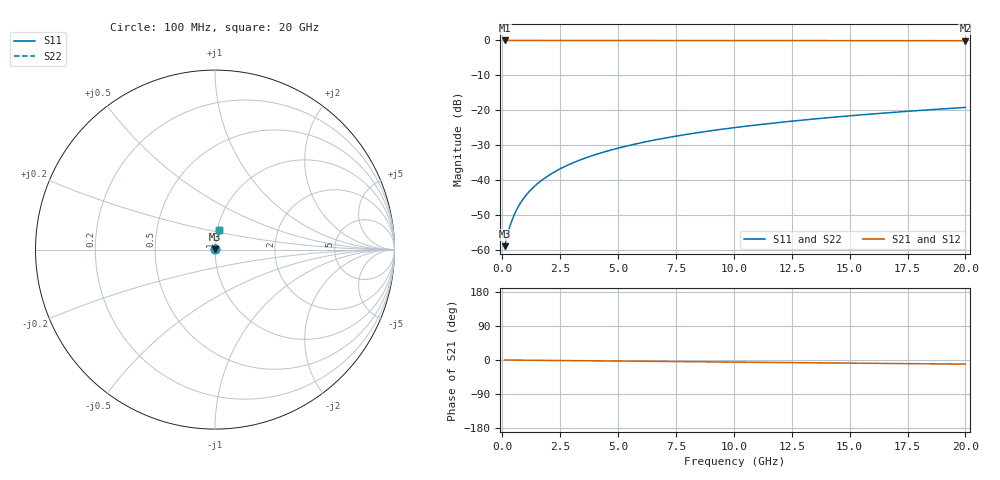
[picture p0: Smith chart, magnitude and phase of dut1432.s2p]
! Touchstone file exported from HFSS 2026.1.0
!  File:  C:/ffzhzh/LocalFiles/Ansys_Project_Files/temp_train_TSV_1432_1783197495_43440.aedt
!  Generated:  04:40:22 AM Jul  5, 2026
!  Design:  TSV
!  Project:  temp_train_TSV_1432_1783197495_43440
! Variables:
!  h_bsmrdl = 2um
!  h_ox = 20um
!  h_rdl = 5um
!  h_sub = 89.37um
!  h_tmrdl = 5um
!  h_tsv = 89.37um
!  h_via = 3um
!  l_bsmrdl = 300um
!  l_sub = 406.64um
!  l_tmrdl = 200um
!  m_sub = 200um
!  pitch = 40.18um
!  r_tsv = 3.32um
!  s_tmrdl = 10um
!  w_bsmrdl = 18um
!  w_sub = 500um
!  w_tmrdl = 12um
!  x_tsv_center1 = 206um
!  x_tsv_center2 = 524um
!  x_tsv_center3 = 736um
!  x_tsv_center4 = 1054um
!  x_tsv_center5 = 1266um
!  x_tsv_center6 = 1584um
# GHz S MA R 50.000000
! Terminal data exported
! Port[1] = TSV1_1_T1
! Port[2] = TSV1_1_T2
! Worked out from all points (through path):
!   200 points, 100 MHz to 20 GHz, reference 50 ohm
!   highest |S21| = -0.01 dB at 100 MHz (marker M1); lowest = -0.1 dB at 20 GHz (marker M2)
!   group delay of S21, straight-line fit = 1.51 ps
!   lowest |S11| = -59.0 dB at 100 MHz (marker M3), VSWR 1.00, Z = 50.1 + j0.0588 ohm
!   |S11| at or under -10 dB: start of sweep to end of sweep
!   |S22| runs from -59.0 to -19.2 dB; largest |S21 - S12| = 3.5e-15
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0.1  0.001117 31.7  0.9991 -0.1  0.9991 -0.1  0.001117 31.7
! Gamma 0 0 0 0
! Port Impedance 50 0 50 0
0.2  0.001514 50.6  0.999 -0.1  0.999 -0.1  0.001514 50.6
0.3  0.002002 60.9  0.999 -0.2  0.999 -0.2  0.002002 60.9
0.4  0.002525 67.0  0.999 -0.2  0.999 -0.2  0.002525 67.0
0.5  0.003066 71.0  0.999 -0.3  0.999 -0.3  0.003066 71.0
0.6  0.003616 73.7  0.999 -0.3  0.999 -0.3  0.003616 73.7
0.8  0.004732 77.3  0.999 -0.5  0.999 -0.5  0.004732 77.3
1.1  0.006426 80.2  0.9989 -0.6  0.9989 -0.6  0.006426 80.2
1.5  0.008699 82.2  0.9989 -0.8  0.9989 -0.8  0.008699 82.2
1.8  0.01041 83.0  0.9989 -1.0  0.9989 -1.0  0.01041 83.0
2.1  0.01212 83.5  0.9988 -1.2  0.9988 -1.2  0.01212 83.5
2.7  0.01553 84.1  0.9987 -1.5  0.9987 -1.5  0.01553 84.1
3.5  0.02006 84.3  0.9985 -2.0  0.9985 -2.0  0.02006 84.3
4.2  0.024 84.2  0.9983 -2.3  0.9983 -2.3  0.024 84.2
5  0.02848 84.1  0.998 -2.8  0.998 -2.8  0.02848 84.1
5.9  0.03348 83.8  0.9977 -3.3  0.9977 -3.3  0.03348 83.8
6.8  0.03846 83.4  0.9974 -3.8  0.9974 -3.8  0.03846 83.4
8.3  0.04669 82.8  0.9968 -4.6  0.9968 -4.6  0.04669 82.8
10.1  0.05648 82.0  0.996 -5.6  0.996 -5.6  0.05648 82.0
13.4  0.07427 80.5  0.9945 -7.4  0.9945 -7.4  0.07427 80.5
16.7  0.09188 78.9  0.9927 -9.1  0.9927 -9.1  0.09188 78.9
20  0.1093 77.3  0.9906 -10.9  0.9906 -10.9  0.1093 77.3
